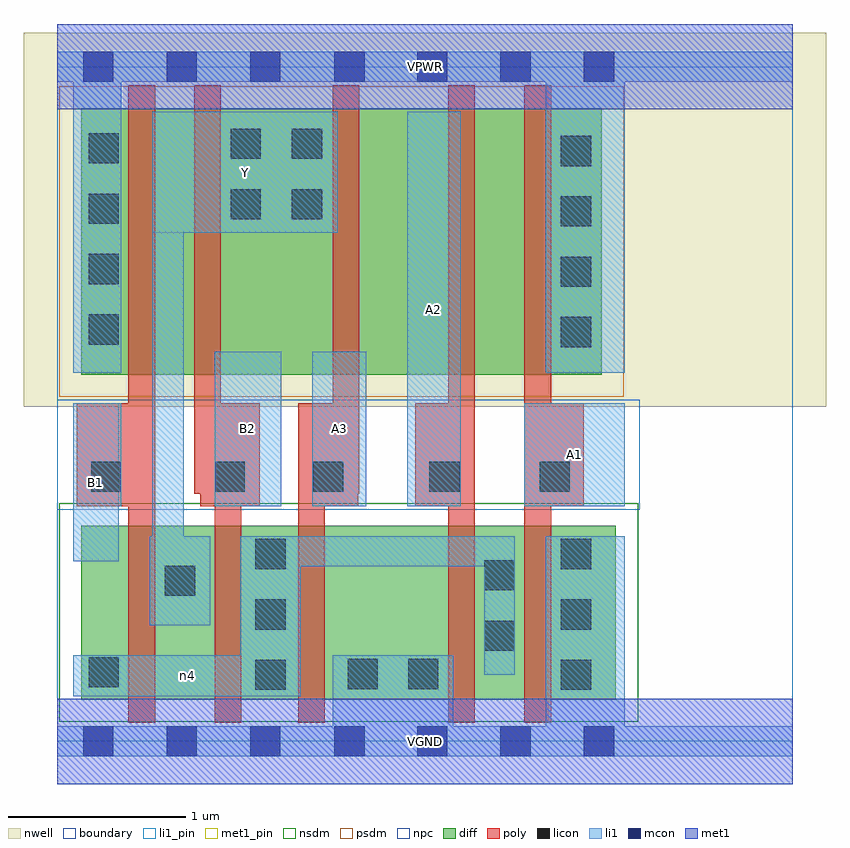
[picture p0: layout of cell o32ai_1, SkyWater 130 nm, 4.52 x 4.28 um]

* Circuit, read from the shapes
.subckt o32ai_1 A1 A2 A3 B1 B2 VGND VPWR Y n4
XM1 Y B1 n4 VSUBS sky130_fd_pr__nfet_01v8 w=0.98 l=0.15
XM2 n4 B2 Y VSUBS sky130_fd_pr__nfet_01v8 w=0.98 l=0.15
XM3 VGND A3 n4 VSUBS sky130_fd_pr__nfet_01v8 w=0.98 l=0.15
XM4 n4 A2 VGND VSUBS sky130_fd_pr__nfet_01v8 w=0.98 l=0.15
XM5 VGND A1 n4 VSUBS sky130_fd_pr__nfet_01v8 w=0.98 l=0.15
XM6 n1 B1 VPWR n2 sky130_fd_pr__pfet_01v8 w=1.5 l=0.15
XM7 Y B2 n1 n2 sky130_fd_pr__pfet_01v8 w=1.5 l=0.15
XM8 n3 A3 Y n2 sky130_fd_pr__pfet_01v8 w=1.5 l=0.15
XM9 n5 A2 n3 n2 sky130_fd_pr__pfet_01v8 w=1.5 l=0.15
XM10 VPWR A1 n5 n2 sky130_fd_pr__pfet_01v8 w=1.5 l=0.15
.ends

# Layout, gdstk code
import gdstk
lib = gdstk.Library(unit=1e-6, precision=1e-09)
def R(c, l, rs):  # rectangles x0, y0, x1, y1
    for r in rs: c.add(gdstk.rectangle(r[:2], r[2:], *l))
def A(c, l, x, y, w, h, nx, ny, dx, dy):  # array of equal rectangles
    R(c, l, [(x+i*dx, y+j*dy, x+i*dx+w, y+j*dy+h) for i in range(nx) for j in range(ny)])
nwell = (64, 20)
diff = (65, 20)
poly = (66, 20)
licon = (66, 44)
li1_pin = (67, 16)
li1 = (67, 20)
mcon = (67, 44)
met1_pin = (68, 16)
met1 = (68, 20)
nsdm = (93, 44)
psdm = (94, 20)
npc = (95, 20)
boundary = (235, 4)

o32ai_1 = lib.new_cell('o32ai_1')
R(o32ai_1, nwell, [(-0.19,1.885,4.33,3.99), (0,1.885,4.14,3.99)])
R(o32ai_1, diff, [(0.135,0.235,3.145,1.215), (0.135,2.065,3.065,3.565)])
R(o32ai_1, poly, [(0.4,0.105,0.55,3.695), (0.885,0.105,1.035,1.905), (1.355,0.105,1.505,1.905), (2.2,0.105,2.35,3.695), (2.63,0.105,2.78,3.695), (0.11,1.325,0.55,1.905), (0.805,1.325,1.14,1.905), (1.505,1.325,1.695,1.905), (2.015,1.325,2.35,1.905), (2.63,1.325,2.965,1.905), (0.77,1.395,0.92,3.695), (1.55,1.395,1.7,3.695)])
A(o32ai_1, licon, 1.115, 0.29, 0.17, 0.17, 1, 3, 0, 0.34)
A(o32ai_1, licon, 2.835, 0.29, 0.17, 0.17, 1, 3, 0, 0.34)
A(o32ai_1, licon, 2.835, 2.22, 0.17, 0.17, 1, 4, 0, 0.34)
A(o32ai_1, licon, 0.175, 2.235, 0.17, 0.17, 1, 4, 0, 0.34)
R(o32ai_1, licon, [(1.635,0.295,1.805,0.465), (1.975,0.295,2.145,0.465), (0.175,0.305,0.345,0.475), (2.405,0.51,2.575,0.68), (0.605,0.82,0.775,0.99), (2.405,0.85,2.575,1.02), (0.19,1.405,0.36,1.575), (0.885,1.405,1.055,1.575), (1.44,1.405,1.61,1.575), (2.095,1.405,2.265,1.575), (2.715,1.405,2.885,1.575), (0.975,2.94,1.145,3.11), (1.32,2.94,1.49,3.11), (0.975,3.28,1.145,3.45), (1.32,3.28,1.49,3.45)])
R(o32ai_1, li1_pin, [(0.09,1.015,0.345,1.905), (0.885,1.325,1.26,2.195), (1.435,1.325,1.74,2.195), (1.97,1.325,2.27,3.545), (2.63,1.325,3.195,1.905), (0.535,2.865,1.58,3.545)])
R(o32ai_1, li1, [(0,-0.085,4.14,0.085), (1.55,-0.085,2.23,0.485), (2.75,-0.085,3.195,1.155), (0.09,0.255,1.37,0.485), (1.03,0.255,1.37,1.155), (2.405,0.375,2.575,1.155), (0.52,0.655,0.86,1.155), (0.535,0.655,0.71,3.545), (1.03,0.985,2.575,1.155), (0.09,1.015,0.345,1.905), (0.09,1.325,0.36,1.905), (0.885,1.325,1.26,2.195), (1.435,1.325,1.74,2.195), (1.97,1.325,2.27,3.545), (2.63,1.325,3.195,1.905), (0.09,2.075,0.36,3.885), (2.75,2.075,3.195,3.885), (0.535,2.865,1.58,3.545), (0,3.715,4.14,3.885)])
A(o32ai_1, mcon, 0.145, -0.085, 0.17, 0.17, 3, 2, 0.47, 3.8)
A(o32ai_1, mcon, 2.025, -0.085, 0.17, 0.17, 3, 2, 0.47, 3.8)
R(o32ai_1, mcon, [(1.56,-0.085,1.73,0.085), (1.56,3.715,1.73,3.885)])
R(o32ai_1, met1_pin, [(0,-0.24,4.14,0.24), (0,3.56,4.14,4.04)])
R(o32ai_1, met1, [(0,-0.24,4.14,0.24), (0,3.56,4.14,4.04)])
R(o32ai_1, nsdm, [(0.01,0.11,3.27,1.34)])
R(o32ai_1, psdm, [(0.01,1.94,3.19,3.69)])
R(o32ai_1, npc, [(0,1.305,3.28,1.925)])
R(o32ai_1, boundary, [(0,0,4.14,3.8)])
o32ai_1.add(gdstk.Label('A1', (2.912,1.615), layer=67, texttype=5))
o32ai_1.add(gdstk.Label('A2', (2.12,2.435), layer=67, texttype=5))
o32ai_1.add(gdstk.Label('A3', (1.587,1.76), layer=67, texttype=5))
o32ai_1.add(gdstk.Label('B1', (0.217,1.46), layer=67, texttype=5))
o32ai_1.add(gdstk.Label('B2', (1.072,1.76), layer=67, texttype=5))
o32ai_1.add(gdstk.Label('Y', (1.057,3.205), layer=67, texttype=5))
o32ai_1.add(gdstk.Label('n4', (0.73,0.37), layer=67, texttype=5))
o32ai_1.add(gdstk.Label('VPWR', (2.07,3.8), layer=68, texttype=5))
o32ai_1.add(gdstk.Label('VGND', (2.07,0), layer=68, texttype=5))
o32ai_1.add(gdstk.Label('A1', (2.912,1.615), layer=67, texttype=16))
o32ai_1.add(gdstk.Label('A2', (2.12,2.435), layer=67, texttype=16))
o32ai_1.add(gdstk.Label('A3', (1.587,1.76), layer=67, texttype=16))
o32ai_1.add(gdstk.Label('B1', (0.217,1.46), layer=67, texttype=16))
o32ai_1.add(gdstk.Label('B2', (1.072,1.76), layer=67, texttype=16))
o32ai_1.add(gdstk.Label('Y', (1.057,3.205), layer=67, texttype=16))
o32ai_1.add(gdstk.Label('VPWR', (2.07,3.8), layer=68, texttype=16))
o32ai_1.add(gdstk.Label('VGND', (2.07,0), layer=68, texttype=16))

lib.write_gds('o32ai_1.gds')
